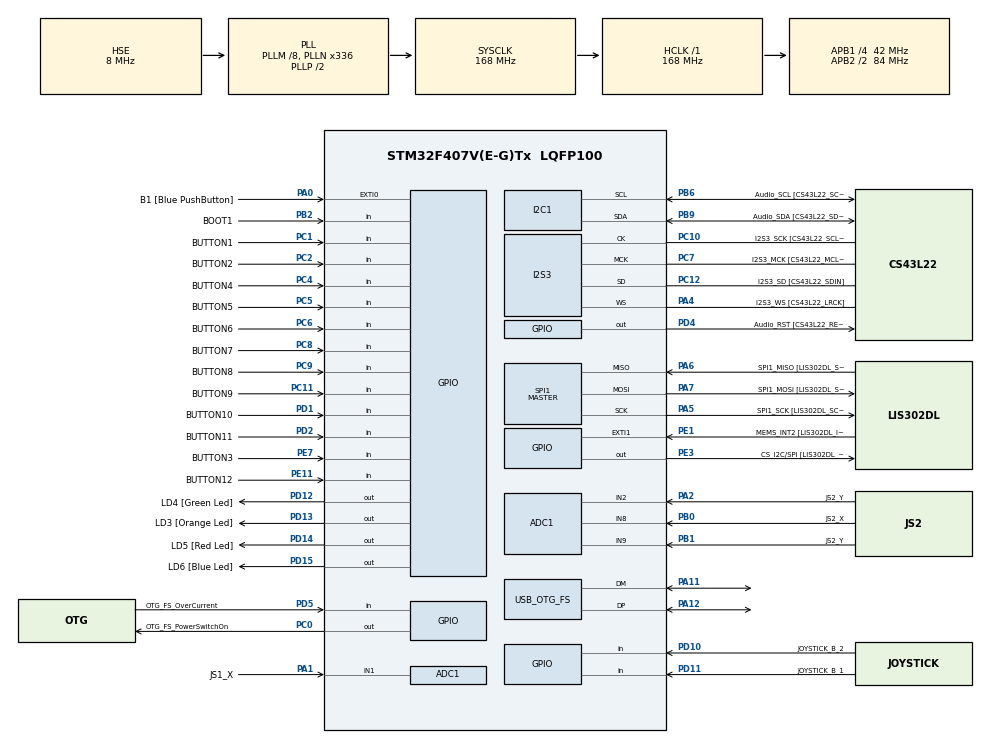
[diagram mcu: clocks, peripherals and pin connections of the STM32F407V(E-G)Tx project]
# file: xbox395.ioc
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ADC1.Channel-2\#ChannelRegularConversion=ADC_CHANNEL_1
ADC1.Channel-3\#ChannelRegularConversion=ADC_CHANNEL_2
ADC1.Channel-4\#ChannelRegularConversion=ADC_CHANNEL_8
ADC1.Channel-5\#ChannelRegularConversion=ADC_CHANNEL_9
ADC1.ContinuousConvMode=DISABLE
ADC1.NbrOfConversion=4
ADC1.NbrOfConversionFlag=1
ADC1.Rank-2\#ChannelRegularConversion=1
ADC1.Rank-3\#ChannelRegularConversion=2
ADC1.Rank-4\#ChannelRegularConversion=3
ADC1.Rank-5\#ChannelRegularConversion=4
ADC1.SamplingTime-2\#ChannelRegularConversion=ADC_SAMPLETIME_480CYCLES
ADC1.SamplingTime-3\#ChannelRegularConversion=ADC_SAMPLETIME_480CYCLES
ADC1.SamplingTime-4\#ChannelRegularConversion=ADC_SAMPLETIME_480CYCLES
ADC1.SamplingTime-5\#ChannelRegularConversion=ADC_SAMPLETIME_480CYCLES
ADC1.master=1
Dma.ADC1.0.Direction=DMA_PERIPH_TO_MEMORY
Dma.ADC1.0.FIFOMode=DMA_FIFOMODE_DISABLE
Dma.ADC1.0.Instance=DMA2_Stream0
Dma.ADC1.0.MemDataAlignment=DMA_MDATAALIGN_WORD
Dma.ADC1.0.MemInc=DMA_MINC_ENABLE
Dma.ADC1.0.Mode=DMA_CIRCULAR
Dma.ADC1.0.PeriphDataAlignment=DMA_PDATAALIGN_WORD
Dma.ADC1.0.PeriphInc=DMA_PINC_DISABLE
Dma.ADC1.0.Priority=DMA_PRIORITY_MEDIUM
Dma.Request0=ADC1
I2S3.AudioFreq-Half_Duplex_Master=I2S_AUDIOFREQ_96K
I2S3.ErrorAudioFreq=-2.34 %
I2S3.ErrorAudioFreq-Half_Duplex_Master=0.8 %
I2S3.FullDuplexMode=I2S_FULLDUPLEXMODE_DISABLE
I2S3.Instance=SPI$Index
I2S3.RealAudioFreq=93.75 KHz
I2S3.RealAudioFreq-Half_Duplex_Master=96.774 KHz
I2S3.VirtualMode=I2S_MODE_MASTER
Mcu.Family=STM32F4
Mcu.Name=STM32F407V(E-G)Tx
Mcu.Package=LQFP100
NVIC.DMA2_Stream0_IRQn=true\:0\:0\:false\:false\:true\:false\:true
NVIC.OTG_FS_IRQn=true\:0\:0\:false\:false\:true\:true\:true
NVIC.PriorityGroup=NVIC_PRIORITYGROUP_0
PA0-WKUP.GPIO_Label=B1 [Blue PushButton]
PA0-WKUP.GPIO_ModeDefaultEXTI=GPIO_MODE_EVT_RISING
PA0-WKUP.GPIO_PuPd=GPIO_NOPULL
PA0-WKUP.Signal=GPXTI0
PA1.GPIO_Label=JS1_X
PA1.Signal=ADCx_IN1
PA10.GPIO_Label=OTG_FS_ID
PA10.GPIO_Mode=GPIO_MODE_AF_PP
PA10.GPIO_PuPd=GPIO_NOPULL
PA10.GPIO_Speed=GPIO_SPEED_FREQ_LOW
PA10.Signal=USB_OTG_FS_ID
PA11.GPIO_Mode=GPIO_MODE_AF_PP
PA11.GPIO_PuPd=GPIO_NOPULL
PA11.GPIO_Speed=GPIO_SPEED_FREQ_VERY_HIGH
PA11.Mode=Device_Only
PA11.Signal=USB_OTG_FS_DM
PA12.GPIO_Mode=GPIO_MODE_AF_PP
PA12.GPIO_PuPd=GPIO_NOPULL
PA12.GPIO_Speed=GPIO_SPEED_FREQ_VERY_HIGH
PA12.Mode=Device_Only
PA12.Signal=USB_OTG_FS_DP
PA13.GPIO_Label=SWDIO
PA13.Mode=Trace_Asynchronous_SW
PA13.Signal=SYS_JTMS-SWDIO
PA14.GPIO_Label=SWCLK
PA14.Mode=Trace_Asynchronous_SW
PA14.Signal=SYS_JTCK-SWCLK
PA2.GPIO_Label=JS2_Y
PA2.Signal=ADCx_IN2
PA4.GPIO_Label=I2S3_WS [CS43L22_LRCK]
PA4.GPIO_Mode=GPIO_MODE_AF_PP
PA4.GPIO_PuPd=GPIO_NOPULL
PA4.GPIO_Speed=GPIO_SPEED_FREQ_LOW
PA4.Mode=Half_Duplex_Master
PA4.Signal=I2S3_WS
PA5.GPIO_Label=SPI1_SCK [LIS302DL_SCL/SPC]
PA5.GPIO_Mode=GPIO_MODE_AF_PP
PA5.GPIO_PuPd=GPIO_NOPULL
PA5.GPIO_Speed=GPIO_SPEED_FREQ_LOW
PA5.Mode=Full_Duplex_Master
PA5.Signal=SPI1_SCK
PA6.GPIO_Label=SPI1_MISO [LIS302DL_SDO]
PA6.GPIO_Mode=GPIO_MODE_AF_PP
PA6.GPIO_PuPd=GPIO_NOPULL
PA6.GPIO_Speed=GPIO_SPEED_FREQ_LOW
PA6.Mode=Full_Duplex_Master
PA6.Signal=SPI1_MISO
PA7.GPIO_Label=SPI1_MOSI [LIS302DL_SDA/SDI/SDO]
PA7.GPIO_Mode=GPIO_MODE_AF_PP
PA7.GPIO_PuPd=GPIO_NOPULL
PA7.GPIO_Speed=GPIO_SPEED_FREQ_LOW
PA7.Mode=Full_Duplex_Master
PA7.Signal=SPI1_MOSI
PA9.GPIO_Label=VBUS_FS
PA9.GPIO_Mode=GPIO_MODE_INPUT
PA9.GPIO_PuPd=GPIO_NOPULL
PA9.Signal=USB_OTG_FS_VBUS
PB0.GPIO_Label=JS2_X
PB0.Signal=ADCx_IN8
PB1.GPIO_Label=JS2_Y
PB1.Signal=ADCx_IN9
PB10.GPIO_Label=CLK_IN [MP45DT02_CLK]
PB10.GPIO_Mode=GPIO_MODE_AF_PP
PB10.GPIO_PuPd=GPIO_NOPULL
PB10.GPIO_Speed=GPIO_SPEED_FREQ_LOW
PB10.Signal=I2S2_CK
PB2.GPIO_Label=BOOT1
PB2.GPIO_Mode=GPIO_MODE_INPUT
PB2.GPIO_PuPd=GPIO_NOPULL
PB2.Signal=GPIO_Input
PB3.GPIO_Label=SWO
PB3.Mode=Trace_Asynchronous_SW
PB3.Signal=SYS_JTDO-SWO
PB6.GPIO_Label=Audio_SCL [CS43L22_SCL]
PB6.GPIO_Mode=GPIO_MODE_AF_OD
PB6.GPIO_Pu=GPIO_PULLUP
PB6.GPIO_PuPd=GPIO_NOPULL
PB6.GPIO_Speed=GPIO_SPEED_FREQ_LOW
PB6.Mode=I2C
PB6.Signal=I2C1_SCL
PB9.GPIO_Label=Audio_SDA [CS43L22_SDA]
PB9.GPIO_Mode=GPIO_MODE_AF_OD
PB9.GPIO_Pu=GPIO_PULLUP
PB9.GPIO_PuPd=GPIO_NOPULL
PB9.GPIO_Speed=GPIO_SPEED_FREQ_LOW
PB9.Mode=I2C
PB9.Signal=I2C1_SDA
PC0.GPIO_Label=OTG_FS_PowerSwitchOn
PC0.GPIO_PuPd=GPIO_NOPULL
PC0.GPIO_Speed=GPIO_SPEED_FREQ_LOW
PC0.PinState=GPIO_PIN_SET
PC0.Signal=GPIO_Output
PC1.GPIO_Label=BUTTON1
PC1.GPIO_PuPd=GPIO_PULLUP
PC1.Signal=GPIO_Input
PC10.GPIO_Label=I2S3_SCK [CS43L22_SCLK]
PC10.GPIO_Mode=GPIO_MODE_AF_PP
PC10.GPIO_PuPd=GPIO_NOPULL
PC10.GPIO_Speed=GPIO_SPEED_FREQ_LOW
PC10.Mode=Half_Duplex_Master
PC10.Signal=I2S3_CK
PC11.GPIO_Label=BUTTON9
PC11.GPIO_PuPd=GPIO_PULLUP
PC11.Signal=GPIO_Input
PC12.GPIO_Label=I2S3_SD [CS43L22_SDIN]
PC12.GPIO_Mode=GPIO_MODE_AF_PP
PC12.GPIO_PuPd=GPIO_NOPULL
PC12.GPIO_Speed=GPIO_SPEED_FREQ_LOW
PC12.Mode=Half_Duplex_Master
PC12.Signal=I2S3_SD
PC14-OSC32_IN.GPIO_Label=PC14-OSC32_IN
PC14-OSC32_IN.Mode=LSE-External-Oscillator
PC14-OSC32_IN.Signal=RCC_OSC32_IN
PC15-OSC32_OUT.GPIO_Label=PC15-OSC32_OUT
PC15-OSC32_OUT.Mode=LSE-External-Oscillator
PC15-OSC32_OUT.Signal=RCC_OSC32_OUT
PC2.GPIO_Label=BUTTON2
PC2.GPIO_PuPd=GPIO_PULLUP
PC2.Signal=GPIO_Input
PC3.GPIO_Label=PDM_OUT [MP45DT02_DOUT]
PC3.GPIO_Mode=GPIO_MODE_AF_PP
PC3.GPIO_PuPd=GPIO_NOPULL
PC3.GPIO_Speed=GPIO_SPEED_FREQ_LOW
PC3.Signal=I2S2_SD
PC4.GPIO_Label=BUTTON4
PC4.GPIO_PuPd=GPIO_PULLUP
PC4.Signal=GPIO_Input
PC5.GPIO_Label=BUTTON5
PC5.GPIO_PuPd=GPIO_PULLUP
PC5.Signal=GPIO_Input
PC6.GPIO_Label=BUTTON6
PC6.GPIO_PuPd=GPIO_PULLUP
PC6.Signal=GPIO_Input
PC7.GPIO_Label=I2S3_MCK [CS43L22_MCLK]
PC7.GPIO_Mode=GPIO_MODE_AF_PP
PC7.GPIO_PuPd=GPIO_NOPULL
PC7.GPIO_Speed=GPIO_SPEED_FREQ_LOW
PC7.Mode=Master_Clock_Activated
PC7.Signal=I2S3_MCK
PC8.GPIO_Label=BUTTON7
PC8.GPIO_PuPd=GPIO_PULLUP
PC8.Signal=GPIO_Input
PC9.GPIO_Label=BUTTON8
PC9.GPIO_PuPd=GPIO_PULLUP
PC9.Signal=GPIO_Input
PD1.GPIO_Label=BUTTON10
PD1.GPIO_PuPd=GPIO_PULLUP
PD1.Signal=GPIO_Input
PD10.GPIO_Label=JOYSTICK_B_2
PD10.GPIO_PuPd=GPIO_PULLUP
PD10.Signal=GPIO_Input
PD11.GPIO_Label=JOYSTICK_B_1
PD11.GPIO_PuPd=GPIO_PULLUP
PD11.Signal=GPIO_Input
PD12.GPIO_Label=LD4 [Green Led]
PD12.GPIO_PuPd=GPIO_NOPULL
PD12.GPIO_Speed=GPIO_SPEED_FREQ_LOW
PD12.Signal=GPIO_Output
PD13.GPIO_Label=LD3 [Orange Led]
PD13.GPIO_PuPd=GPIO_NOPULL
PD13.GPIO_Speed=GPIO_SPEED_FREQ_LOW
PD13.Signal=GPIO_Output
PD14.GPIO_Label=LD5 [Red Led]
PD14.GPIO_PuPd=GPIO_NOPULL
PD14.GPIO_Speed=GPIO_SPEED_FREQ_LOW
PD14.Signal=GPIO_Output
PD15.GPIO_Label=LD6 [Blue Led]
PD15.GPIO_PuPd=GPIO_NOPULL
PD15.GPIO_Speed=GPIO_SPEED_FREQ_LOW
PD15.Signal=GPIO_Output
PD2.GPIO_Label=BUTTON11
PD2.GPIO_PuPd=GPIO_PULLUP
PD2.Signal=GPIO_Input
PD4.GPIO_Label=Audio_RST [CS43L22_RESET]
PD4.GPIO_PuPd=GPIO_NOPULL
PD4.GPIO_Speed=GPIO_SPEED_FREQ_LOW
PD4.Signal=GPIO_Output
PD5.GPIO_Label=OTG_FS_OverCurrent
PD5.GPIO_Mode=GPIO_MODE_INPUT
PD5.GPIO_PuPd=GPIO_NOPULL
PD5.Signal=GPIO_Input
PE1.GPIO_Label=MEMS_INT2 [LIS302DL_INT2]
PE1.GPIO_ModeDefaultEXTI=GPIO_MODE_EVT_RISING
PE1.GPIO_PuPd=GPIO_NOPULL
PE1.Signal=GPXTI1
PE11.GPIO_Label=BUTTON12
PE11.GPIO_PuPd=GPIO_PULLUP
PE11.Signal=GPIO_Input
PE3.GPIO_Label=CS_I2C/SPI [LIS302DL_CS_I2C/SPI]
PE3.GPIO_PuPd=GPIO_NOPULL
PE3.GPIO_Speed=GPIO_SPEED_FREQ_LOW
PE3.Signal=GPIO_Output
PE7.GPIO_Label=BUTTON3
PE7.GPIO_PuPd=GPIO_PULLUP
PE7.Signal=GPIO_Input
PH0-OSC_IN.GPIO_Label=PH0-OSC_IN
PH0-OSC_IN.Mode=HSE-External-Oscillator
PH0-OSC_IN.Signal=RCC_OSC_IN
PH1-OSC_OUT.GPIO_Label=PH1-OSC_OUT
PH1-OSC_OUT.Mode=HSE-External-Oscillator
PH1-OSC_OUT.Signal=RCC_OSC_OUT
ProjectManager.HeapSize=0x200
ProjectManager.StackSize=0x400
ProjectManager.TargetToolchain=STM32CubeIDE
RCC.48MHZClocksFreq_Value=48000000
RCC.AHBFreq_Value=168000000
RCC.APB1CLKDivider=RCC_HCLK_DIV4
RCC.APB1Freq_Value=42000000
RCC.APB1TimFreq_Value=84000000
RCC.APB2CLKDivider=RCC_HCLK_DIV2
RCC.APB2Freq_Value=84000000
RCC.APB2TimFreq_Value=168000000
RCC.CortexFreq_Value=168000000
RCC.HCLKFreq_Value=168000000
RCC.HSE_VALUE=8000000
RCC.HSI_VALUE=16000000
RCC.PLLM=8
RCC.PLLN=336
RCC.PLLQ=7
RCC.SYSCLKFreq_VALUE=168000000
RCC.SYSCLKSource=RCC_SYSCLKSOURCE_PLLCLK
RCC.VCOOutputFreq_Value=336000000
SH.ADCx_IN1.0=ADC1_IN1,IN1
SH.ADCx_IN2.0=ADC1_IN2,IN2
SH.ADCx_IN8.0=ADC1_IN8,IN8
SH.ADCx_IN9.0=ADC1_IN9,IN9
SPI1.BaudRatePrescaler-Full_Duplex_Master=SPI_BAUDRATEPRESCALER_2
SPI1.CalculateBaudRate-Full_Duplex_Master=42.0 MBits/s
SPI1.Direction=SPI_DIRECTION_2LINES
SPI1.Mode=SPI_MODE_MASTER
SPI1.Mode-Full_Duplex_Master=SPI_MODE_MASTER
SPI1.VirtualType=VM_MASTER
USB_DEVICE.CLASS_NAME_FS=HID
USB_DEVICE.PID_HID_FS=22317
USB_DEVICE.VirtualMode-HID_FS=Hid
USB_DEVICE.VirtualModeFS=Hid_FS
USB_OTG_FS.VirtualMode=Device_Only
VP_USB_DEVICE_VS_USB_DEVICE_HID_FS.Mode=HID_FS
board=STM32F407G-DISC1

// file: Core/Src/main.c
/* USER CODE BEGIN Header */
/**
  ******************************************************************************
  * @file           : main.c
  * @brief          : Main program body
  ******************************************************************************
  * @attention
  *
  * Copyright (c) 2023 STMicroelectronics.
  * All rights reserved.
  *
  * This software is licensed under terms that can be found in the LICENSE file
  * in the root directory of this software component.
  * If no LICENSE file comes with this software, it is provided AS-IS.
  *
  ******************************************************************************
  */
/* USER CODE END Header */
#include "main.h"
#include "usb_device.h"

/* USER CODE BEGIN Includes */
//#include "usbd_custom_hid_if.h"
#include "usbd_hid.h"
/* USER CODE END Includes */

ADC_HandleTypeDef hadc1;
DMA_HandleTypeDef hdma_adc1;

I2C_HandleTypeDef hi2c1;

I2S_HandleTypeDef hi2s3;

SPI_HandleTypeDef hspi1;

/* USER CODE BEGIN PV */
extern USBD_HandleTypeDef hUsbDeviceFS;
uint16_t report_data[9];

/* USER CODE END PV */

void SystemClock_Config(void);
static void MX_GPIO_Init(void);
static void MX_I2C1_Init(void);
static void MX_I2S3_Init(void);
static void MX_SPI1_Init(void);
static void MX_DMA_Init(void);
static void MX_ADC1_Init(void);
/* USER CODE BEGIN PFP */
void poll_buttons(uint16_t * p_button_state);
/* USER CODE END PFP */

/* USER CODE BEGIN 0 */
uint32_t joystick_val[4];
/* USER CODE END 0 */

int main(void)
{

  /* MCU Configuration--------------------------------------------------------*/

  /* Reset of all peripherals, Initializes the Flash interface and the Systick. */
  HAL_Init();

  /* Configure the system clock */
  SystemClock_Config();

  /* Initialize all configured peripherals */
  MX_GPIO_Init();
  MX_I2C1_Init();
  MX_I2S3_Init();
  MX_SPI1_Init();
  MX_DMA_Init();
  MX_ADC1_Init();
  MX_USB_DEVICE_Init();
  /* USER CODE BEGIN 2 */
  //HAL_ADC_Start_DMA(&hadc1, joystick_val, 2);
  /* USER CODE END 2 */

  /* Infinite loop */
  /* USER CODE BEGIN WHILE */
  uint16_t buttons_state;
  //uint16_t joystick = 2048;
  int i;
  while (1)
  {
	  HAL_ADC_Start_DMA(&hadc1, joystick_val, 4);
//	  if(joystick_val[0] > 3000){
//		  HAL_GPIO_WritePin(LD6_GPIO_Port, LD6_Pin, GPIO_PIN_SET);
//	  }
//	  if(joystick_val[0] < 1000){
//	  		  HAL_GPIO_WritePin(LD6_GPIO_Port, LD6_Pin, GPIO_PIN_RESET);
//	  	  }
//	  if(joystick_val[1] > 3000){
//	  		  HAL_GPIO_WritePin(LD5_GPIO_Port, LD5_Pin, GPIO_PIN_SET);
//	  	  }
//	  if(joystick_val[1] < 1000){
//	  		  HAL_GPIO_WritePin(LD5_GPIO_Port, LD5_Pin, GPIO_PIN_RESET);
//	  	  }
	  //HAL_ADC_Stop_DMA(&hadc1);

	 poll_buttons(&buttons_state);
	 for(i = 0; i < 4; i++){
		 report_data[i] = (uint16_t) joystick_val[i];
	 }
	 report_data[4] = buttons_state;
	 USBD_HID_SendReport(&hUsbDeviceFS, (uint8_t*) &report_data, (5)*sizeof(uint16_t));
	 HAL_Delay(15);
    /* USER CODE END WHILE */

  }
}

void SystemClock_Config(void)
{
  RCC_OscInitTypeDef RCC_OscInitStruct = {0};
  RCC_ClkInitTypeDef RCC_ClkInitStruct = {0};

  /** Configure the main internal regulator output voltage
  */
  __HAL_RCC_PWR_CLK_ENABLE();
  __HAL_PWR_VOLTAGESCALING_CONFIG(PWR_REGULATOR_VOLTAGE_SCALE1);
  /** Initializes the RCC Oscillators according to the specified parameters
  * in the RCC_OscInitTypeDef structure.
  */
  RCC_OscInitStruct.OscillatorType = RCC_OSCILLATORTYPE_HSE;
  RCC_OscInitStruct.HSEState = RCC_HSE_ON;
  RCC_OscInitStruct.PLL.PLLState = RCC_PLL_ON;
  RCC_OscInitStruct.PLL.PLLSource = RCC_PLLSOURCE_HSE;
  RCC_OscInitStruct.PLL.PLLM = 8;
  RCC_OscInitStruct.PLL.PLLN = 336;
  RCC_OscInitStruct.PLL.PLLP = RCC_PLLP_DIV2;
  RCC_OscInitStruct.PLL.PLLQ = 7;
  if (HAL_RCC_OscConfig(&RCC_OscInitStruct) != HAL_OK)
  {
    Error_Handler();
  }
  /** Initializes the CPU, AHB and APB buses clocks
  */
  RCC_ClkInitStruct.ClockType = RCC_CLOCKTYPE_HCLK|RCC_CLOCKTYPE_SYSCLK
                              |RCC_CLOCKTYPE_PCLK1|RCC_CLOCKTYPE_PCLK2;
  RCC_ClkInitStruct.SYSCLKSource = RCC_SYSCLKSOURCE_PLLCLK;
  RCC_ClkInitStruct.AHBCLKDivider = RCC_SYSCLK_DIV1;
  RCC_ClkInitStruct.APB1CLKDivider = RCC_HCLK_DIV4;
  RCC_ClkInitStruct.APB2CLKDivider = RCC_HCLK_DIV2;

  if (HAL_RCC_ClockConfig(&RCC_ClkInitStruct, FLASH_LATENCY_5) != HAL_OK)
  {
    Error_Handler();
  }
}

static void MX_ADC1_Init(void)
{

  ADC_ChannelConfTypeDef sConfig = {0};

  /** Configure the global features of the ADC (Clock, Resolution, Data Alignment and number of conversion)
  */
  hadc1.Instance = ADC1;
  hadc1.Init.ClockPrescaler = ADC_CLOCK_SYNC_PCLK_DIV4;
  hadc1.Init.Resolution = ADC_RESOLUTION_12B;
  hadc1.Init.ScanConvMode = ENABLE;
  hadc1.Init.ContinuousConvMode = DISABLE;
  hadc1.Init.DiscontinuousConvMode = DISABLE;
  hadc1.Init.ExternalTrigConvEdge = ADC_EXTERNALTRIGCONVEDGE_NONE;
  hadc1.Init.ExternalTrigConv = ADC_SOFTWARE_START;
  hadc1.Init.DataAlign = ADC_DATAALIGN_RIGHT;
  hadc1.Init.NbrOfConversion = 4;
  hadc1.Init.DMAContinuousRequests = DISABLE;
  hadc1.Init.EOCSelection = ADC_EOC_SINGLE_CONV;
  if (HAL_ADC_Init(&hadc1) != HAL_OK)
  {
    Error_Handler();
  }
  /** Configure for the selected ADC regular channel its corresponding rank in the sequencer and its sample time.
  */
  sConfig.Channel = ADC_CHANNEL_1;
  sConfig.Rank = 1;
  sConfig.SamplingTime = ADC_SAMPLETIME_480CYCLES;
  if (HAL_ADC_ConfigChannel(&hadc1, &sConfig) != HAL_OK)
  {
    Error_Handler();
  }
  /** Configure for the selected ADC regular channel its corresponding rank in the sequencer and its sample time.
  */
  sConfig.Channel = ADC_CHANNEL_2;
  sConfig.Rank = 2;
  if (HAL_ADC_ConfigChannel(&hadc1, &sConfig) != HAL_OK)
  {
    Error_Handler();
  }
  /** Configure for the selected ADC regular channel its corresponding rank in the sequencer and its sample time.
  */
  sConfig.Channel = ADC_CHANNEL_8;
  sConfig.Rank = 3;
  if (HAL_ADC_ConfigChannel(&hadc1, &sConfig) != HAL_OK)
  {
    Error_Handler();
  }
  /** Configure for the selected ADC regular channel its corresponding rank in the sequencer and its sample time.
  */
  sConfig.Channel = ADC_CHANNEL_9;
  sConfig.Rank = 4;
  if (HAL_ADC_ConfigChannel(&hadc1, &sConfig) != HAL_OK)
  {
    Error_Handler();
  }

}

static void MX_I2C1_Init(void)
{

  hi2c1.Instance = I2C1;
  hi2c1.Init.ClockSpeed = 100000;
  hi2c1.Init.DutyCycle = I2C_DUTYCYCLE_2;
  hi2c1.Init.OwnAddress1 = 0;
  hi2c1.Init.AddressingMode = I2C_ADDRESSINGMODE_7BIT;
  hi2c1.Init.DualAddressMode = I2C_DUALADDRESS_DISABLE;
  hi2c1.Init.OwnAddress2 = 0;
  hi2c1.Init.GeneralCallMode = I2C_GENERALCALL_DISABLE;
  hi2c1.Init.NoStretchMode = I2C_NOSTRETCH_DISABLE;
  if (HAL_I2C_Init(&hi2c1) != HAL_OK)
  {
    Error_Handler();
  }

}

static void MX_I2S3_Init(void)
{

  hi2s3.Instance = SPI3;
  hi2s3.Init.Mode = I2S_MODE_MASTER_TX;
  hi2s3.Init.Standard = I2S_STANDARD_PHILIPS;
  hi2s3.Init.DataFormat = I2S_DATAFORMAT_16B;
  hi2s3.Init.MCLKOutput = I2S_MCLKOUTPUT_ENABLE;
  hi2s3.Init.AudioFreq = I2S_AUDIOFREQ_96K;
  hi2s3.Init.CPOL = I2S_CPOL_LOW;
  hi2s3.Init.ClockSource = I2S_CLOCK_PLL;
  hi2s3.Init.FullDuplexMode = I2S_FULLDUPLEXMODE_DISABLE;
  if (HAL_I2S_Init(&hi2s3) != HAL_OK)
  {
    Error_Handler();
  }

}

static void MX_SPI1_Init(void)
{

  /* SPI1 parameter configuration*/
  hspi1.Instance = SPI1;
  hspi1.Init.Mode = SPI_MODE_MASTER;
  hspi1.Init.Direction = SPI_DIRECTION_2LINES;
  hspi1.Init.DataSize = SPI_DATASIZE_8BIT;
  hspi1.Init.CLKPolarity = SPI_POLARITY_LOW;
  hspi1.Init.CLKPhase = SPI_PHASE_1EDGE;
  hspi1.Init.NSS = SPI_NSS_SOFT;
  hspi1.Init.BaudRatePrescaler = SPI_BAUDRATEPRESCALER_2;
  hspi1.Init.FirstBit = SPI_FIRSTBIT_MSB;
  hspi1.Init.TIMode = SPI_TIMODE_DISABLE;
  hspi1.Init.CRCCalculation = SPI_CRCCALCULATION_DISABLE;
  hspi1.Init.CRCPolynomial = 10;
  if (HAL_SPI_Init(&hspi1) != HAL_OK)
  {
    Error_Handler();
  }

}

static void MX_DMA_Init(void)
{

  /* DMA controller clock enable */
  __HAL_RCC_DMA2_CLK_ENABLE();

  /* DMA interrupt init */
  /* DMA2_Stream0_IRQn interrupt configuration */
  HAL_NVIC_SetPriority(DMA2_Stream0_IRQn, 0, 0);
  HAL_NVIC_EnableIRQ(DMA2_Stream0_IRQn);

}

static void MX_GPIO_Init(void)
{
  GPIO_InitTypeDef GPIO_InitStruct = {0};

  /* GPIO Ports Clock Enable */
  __HAL_RCC_GPIOE_CLK_ENABLE();
  __HAL_RCC_GPIOC_CLK_ENABLE();
  __HAL_RCC_GPIOH_CLK_ENABLE();
  __HAL_RCC_GPIOA_CLK_ENABLE();
  __HAL_RCC_GPIOB_CLK_ENABLE();
  __HAL_RCC_GPIOD_CLK_ENABLE();

  /*Configure GPIO pin Output Level */
  HAL_GPIO_WritePin(CS_I2C_SPI_GPIO_Port, CS_I2C_SPI_Pin, GPIO_PIN_RESET);

  /*Configure GPIO pin Output Level */
  HAL_GPIO_WritePin(OTG_FS_PowerSwitchOn_GPIO_Port, OTG_FS_PowerSwitchOn_Pin, GPIO_PIN_SET);

  /*Configure GPIO pin Output Level */
  HAL_GPIO_WritePin(GPIOD, LD4_Pin|LD3_Pin|LD5_Pin|LD6_Pin
                          |Audio_RST_Pin, GPIO_PIN_RESET);

  /*Configure GPIO pin : CS_I2C_SPI_Pin */
  GPIO_InitStruct.Pin = CS_I2C_SPI_Pin;
  GPIO_InitStruct.Mode = GPIO_MODE_OUTPUT_PP;
  GPIO_InitStruct.Pull = GPIO_NOPULL;
  GPIO_InitStruct.Speed = GPIO_SPEED_FREQ_LOW;
  HAL_GPIO_Init(CS_I2C_SPI_GPIO_Port, &GPIO_InitStruct);

  /*Configure GPIO pin : OTG_FS_PowerSwitchOn_Pin */
  GPIO_InitStruct.Pin = OTG_FS_PowerSwitchOn_Pin;
  GPIO_InitStruct.Mode = GPIO_MODE_OUTPUT_PP;
  GPIO_InitStruct.Pull = GPIO_NOPULL;
  GPIO_InitStruct.Speed = GPIO_SPEED_FREQ_LOW;
  HAL_GPIO_Init(OTG_FS_PowerSwitchOn_GPIO_Port, &GPIO_InitStruct);

  /*Configure GPIO pins : BUTTON1_Pin BUTTON2_Pin BUTTON4_Pin BUTTON5_Pin
                           BUTTON6_Pin BUTTON7_Pin BUTTON8_Pin BUTTON9_Pin */
  GPIO_InitStruct.Pin = BUTTON1_Pin|BUTTON2_Pin|BUTTON4_Pin|BUTTON5_Pin
                          |BUTTON6_Pin|BUTTON7_Pin|BUTTON8_Pin|BUTTON9_Pin;
  GPIO_InitStruct.Mode = GPIO_MODE_INPUT;
  GPIO_InitStruct.Pull = GPIO_PULLUP;
  HAL_GPIO_Init(GPIOC, &GPIO_InitStruct);

  /*Configure GPIO pin : PDM_OUT_Pin */
  GPIO_InitStruct.Pin = PDM_OUT_Pin;
  GPIO_InitStruct.Mode = GPIO_MODE_AF_PP;
  GPIO_InitStruct.Pull = GPIO_NOPULL;
  GPIO_InitStruct.Speed = GPIO_SPEED_FREQ_LOW;
  GPIO_InitStruct.Alternate = GPIO_AF5_SPI2;
  HAL_GPIO_Init(PDM_OUT_GPIO_Port, &GPIO_InitStruct);

  /*Configure GPIO pin : B1_Pin */
  GPIO_InitStruct.Pin = B1_Pin;
  GPIO_InitStruct.Mode = GPIO_MODE_EVT_RISING;
  GPIO_InitStruct.Pull = GPIO_NOPULL;
  HAL_GPIO_Init(B1_GPIO_Port, &GPIO_InitStruct);

  /*Configure GPIO pin : BOOT1_Pin */
  GPIO_InitStruct.Pin = BOOT1_Pin;
  GPIO_InitStruct.Mode = GPIO_MODE_INPUT;
  GPIO_InitStruct.Pull = GPIO_NOPULL;
  HAL_GPIO_Init(BOOT1_GPIO_Port, &GPIO_InitStruct);

  /*Configure GPIO pins : BUTTON3_Pin BUTTON12_Pin */
  GPIO_InitStruct.Pin = BUTTON3_Pin|BUTTON12_Pin;
  GPIO_InitStruct.Mode = GPIO_MODE_INPUT;
  GPIO_InitStruct.Pull = GPIO_PULLUP;
  HAL_GPIO_Init(GPIOE, &GPIO_InitStruct);

  /*Configure GPIO pin : CLK_IN_Pin */
  GPIO_InitStruct.Pin = CLK_IN_Pin;
  GPIO_InitStruct.Mode = GPIO_MODE_AF_PP;
  GPIO_InitStruct.Pull = GPIO_NOPULL;
  GPIO_InitStruct.Speed = GPIO_SPEED_FREQ_LOW;
  GPIO_InitStruct.Alternate = GPIO_AF5_SPI2;
  HAL_GPIO_Init(CLK_IN_GPIO_Port, &GPIO_InitStruct);

  /*Configure GPIO pins : JOYSTICK_B_2_Pin JOYSTICK_B_1_Pin BUTTON10_Pin BUTTON11_Pin */
  GPIO_InitStruct.Pin = JOYSTICK_B_2_Pin|JOYSTICK_B_1_Pin|BUTTON10_Pin|BUTTON11_Pin;
  GPIO_InitStruct.Mode = GPIO_MODE_INPUT;
  GPIO_InitStruct.Pull = GPIO_PULLUP;
  HAL_GPIO_Init(GPIOD, &GPIO_InitStruct);

  /*Configure GPIO pins : LD4_Pin LD3_Pin LD5_Pin LD6_Pin
                           Audio_RST_Pin */
  GPIO_InitStruct.Pin = LD4_Pin|LD3_Pin|LD5_Pin|LD6_Pin
                          |Audio_RST_Pin;
  GPIO_InitStruct.Mode = GPIO_MODE_OUTPUT_PP;
  GPIO_InitStruct.Pull = GPIO_NOPULL;
  GPIO_InitStruct.Speed = GPIO_SPEED_FREQ_LOW;
  HAL_GPIO_Init(GPIOD, &GPIO_InitStruct);

  /*Configure GPIO pin : OTG_FS_OverCurrent_Pin */
  GPIO_InitStruct.Pin = OTG_FS_OverCurrent_Pin;
  GPIO_InitStruct.Mode = GPIO_MODE_INPUT;
  GPIO_InitStruct.Pull = GPIO_NOPULL;
  HAL_GPIO_Init(OTG_FS_OverCurrent_GPIO_Port, &GPIO_InitStruct);

  /*Configure GPIO pin : MEMS_INT2_Pin */
  GPIO_InitStruct.Pin = MEMS_INT2_Pin;
  GPIO_InitStruct.Mode = GPIO_MODE_EVT_RISING;
  GPIO_InitStruct.Pull = GPIO_NOPULL;
  HAL_GPIO_Init(MEMS_INT2_GPIO_Port, &GPIO_InitStruct);

}

/* USER CODE BEGIN 4 */

//uint16_t FilterWindow (uint32_t * p_buf, uint16_t new_val)
//{
//	uint16_t ret;
//
//	p_buf[FILTER_WINDOW_SIZE-1] = new_val;
//
//	for (uint8_t i=2; i<=FILTER_WINDOW_SIZE; i++)
//	{
//		p_buf[FILTER_WINDOW_SIZE-1] += p_buf[FILTER_WINDOW_SIZE - i];
//	}
//
//	p_buf[FILTER_WINDOW_SIZE-1] /= FILTER_WINDOW_SIZE;
//
//	ret = p_buf[FILTER_WINDOW_SIZE-1];
//
//	for (int i=0; i<FILTER_WINDOW_SIZE; i++)
//	{
//		p_buf[i-1] = p_buf[i];
//	}
//
//		return ret;
//}

void poll_buttons (uint16_t * p_button_state)
{
	*p_button_state = 0;
	*p_button_state |= HAL_GPIO_ReadPin(BUTTON1_GPIO_Port, BUTTON1_Pin);
	*p_button_state |= HAL_GPIO_ReadPin(BUTTON2_GPIO_Port, BUTTON2_Pin) << 1;
	*p_button_state |= HAL_GPIO_ReadPin(BUTTON3_GPIO_Port, BUTTON3_Pin) << 2;
	*p_button_state |= HAL_GPIO_ReadPin(BUTTON4_GPIO_Port, BUTTON4_Pin) << 3;
	*p_button_state |= HAL_GPIO_ReadPin(BUTTON5_GPIO_Port, BUTTON5_Pin) << 4;
	*p_button_state |= HAL_GPIO_ReadPin(BUTTON6_GPIO_Port, BUTTON6_Pin) << 5;
	*p_button_state |= HAL_GPIO_ReadPin(BUTTON7_GPIO_Port, BUTTON7_Pin) << 6;
	*p_button_state |= HAL_GPIO_ReadPin(BUTTON8_GPIO_Port, BUTTON8_Pin) << 7;
	*p_button_state |= HAL_GPIO_ReadPin(BUTTON9_GPIO_Port, BUTTON9_Pin) << 8;
	*p_button_state |= HAL_GPIO_ReadPin(BUTTON10_GPIO_Port, BUTTON10_Pin) << 9;
	*p_button_state |= HAL_GPIO_ReadPin(BUTTON11_GPIO_Port, BUTTON11_Pin) << 10;
	*p_button_state |= HAL_GPIO_ReadPin(BUTTON12_GPIO_Port, BUTTON12_Pin) << 11;
	*p_button_state ^= 0x0FFF;
}
/* USER CODE END 4 */

void Error_Handler(void)
{
  __disable_irq();
  while (1)
  {
  }
}
